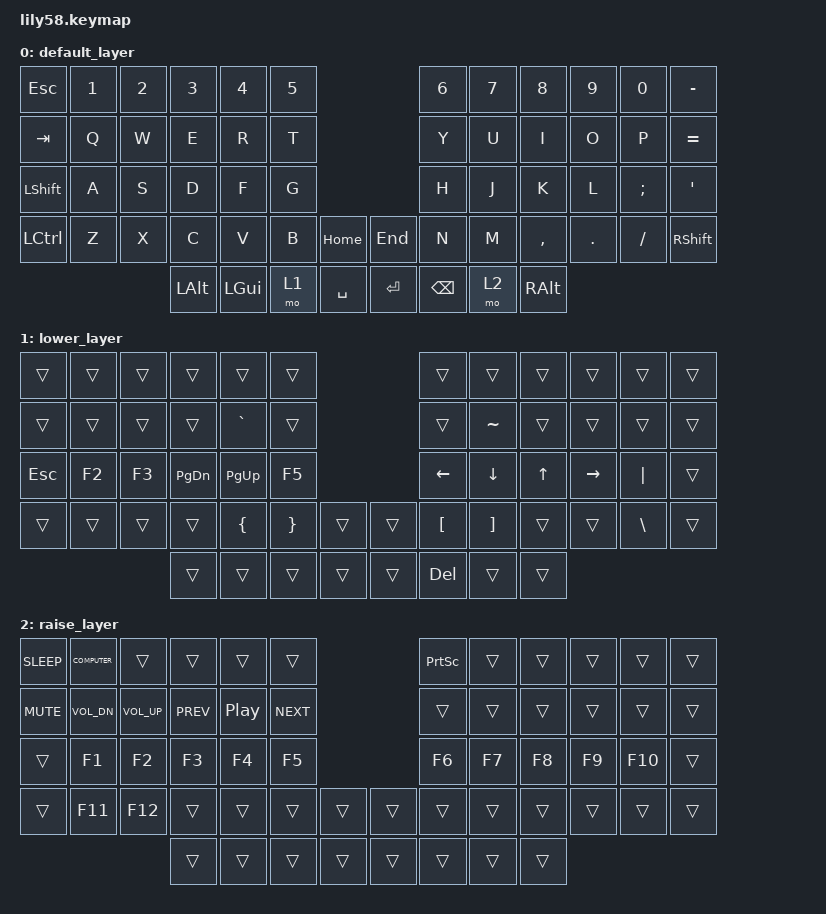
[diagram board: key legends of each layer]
#include <behaviors.dtsi>
#include <dt-bindings/zmk/keys.h>
#include <dt-bindings/zmk/bt.h>

/ {
    keymap {
        compatible = "zmk,keymap";

        /* Layer 0: QWERTY (Base)
         * ,-----------------------------------------.                    ,-----------------------------------------.
         * | ESC  |   1  |   2  |   3  |   4  |   5  |                    |   6  |   7  |   8  |   9  |   0  |  -   |
         * |------+------+------+------+------+------|                    |------+------+------+------+------+------|
         * | Tab  |   Q  |   W  |   E  |   R  |   T  |                    |   Y  |   U  |   I  |   O  |   P  |  =   |
         * |------+------+------+------+------+------|                    |------+------+------+------+------+------|
         * |LShift|   A  |   S  |   D  |   F  |   G  |-------.    ,-------|   H  |   J  |   K  |   L  |   ;  |  '   |
         * |------+------+------+------+------+------|  HOME |    |  END  |------+------+------+------+------+------|
         * |LCTRL |   Z  |   X  |   C  |   V  |   B  |-------|    |-------|   N  |   M  |   ,  |   .  |   /  |RShift|
         * `-----------------------------------------/       /     \      \-----------------------------------------'
         *                   | LAlt | LGUI |LOWER | /Space  /       \Enter \  |BackSP|RAISE | RALT |
         *                   |      |      |      |/       /         \      \ |      |      |      |
         *                   `----------------------------'           '------''--------------------'
         */
        default_layer {
            bindings = <
&kp ESC     &kp N1      &kp N2      &kp N3      &kp N4      &kp N5                          &kp N6      &kp N7      &kp N8      &kp N9      &kp N0      &kp MINUS
&kp TAB     &kp Q       &kp W       &kp E       &kp R       &kp T                           &kp Y       &kp U       &kp I       &kp O       &kp P       &kp EQUAL
&kp LSHFT   &kp A       &kp S       &kp D       &kp F       &kp G                           &kp H       &kp J       &kp K       &kp L       &kp SEMI    &kp SQT
&kp LCTRL   &kp Z       &kp X       &kp C       &kp V       &kp B       &kp HOME    &kp END &kp N       &kp M       &kp COMMA   &kp DOT     &kp FSLH    &kp RSHFT
                                    &kp LALT    &kp LGUI    &mo 1       &kp SPACE   &kp RET &kp BSPC    &mo 2       &kp RALT
            >;
        };

        /* Layer 1: LOWER
         * ,-----------------------------------------.                    ,-----------------------------------------.
         * |      |      |      |      |      |      |                    |      |      |      |      |      |      |
         * |------+------+------+------+------+------|                    |------+------+------+------+------+------|
         * |      |      |      |      |  `   |      |                    |      |  ~   |      |      |      |      |
         * |------+------+------+------+------+------|                    |------+------+------+------+------+------|
         * |  ESC |  F2  |  F3  |PGDOWN| PGUP |  F5  |-------.    ,-------| Left | Down |  Up  |Right |  |   |      |
         * |------+------+------+------+------+------|  HOME |    |  END  |------+------+------+------+------+------|
         * |      |      |      |      |  {   |  }   |-------|    |-------|   [  |   ]  |      |      |  /   |      |
         * `-----------------------------------------/       /     \      \-----------------------------------------'
         *                   | LAlt | LGUI |LOWER | /Space  /       \Enter \  | DEL   |RAISE | RALT |
         *                   |      |      |      |/       /         \      \ |      |      |      |
         *                   `----------------------------'           '------''--------------------'
         */
        lower_layer { // Layer 1
            bindings = <
&trans      &trans      &trans      &trans      &trans      &trans                      &trans      &trans      &trans      &trans      &trans      &trans
&trans      &trans      &trans      &trans      &kp GRAVE   &trans                      &trans      &kp TILDE   &trans      &trans      &trans      &trans
&kp ESC     &kp F2      &kp F3      &kp PG_DN    &kp PG_UP    &kp F5                      &kp LEFT    &kp DOWN    &kp UP      &kp RIGHT   &kp PIPE    &trans
&trans      &trans      &trans      &trans      &kp LBRC    &kp RBRC    &trans  &trans  &kp LBKT    &kp RBKT    &trans      &trans      &kp BSLH    &trans
                                    &trans      &trans      &trans      &trans  &trans  &kp DEL     &trans      &trans
            >;
        };

        /* Layer 2: RAISE
         * ,-----------------------------------------.                    ,-----------------------------------------.
         * | SLEEP|LAUNCH|      |      |      |      |                    |PRT SC|      |      |      |      |      |
         * |------+------+------+------+------+------|                    |------+------+------+------+------+------|
         * | MUTE |VOLDN | VOLUP| PREV |PAUSE | NEXT |                    |      |      |      |      |      |      |
         * |------+------+------+------+------+------|                    |------+------+------+------+------+------|
         * |      |  F1  |  F2  |  F3  |  F4  |  F5  |-------.    ,-------|  F6  |  F7  |  F8  |  F9  |  F10 |      |
         * |------+------+------+------+------+------|  HOME |    |  END  |------+------+------+------+------+------|
         * |      |  F11 |  F12 |      |      | F12  |-------|    |-------|      |      |      |      |      |      |
         * `-----------------------------------------/       /     \      \-----------------------------------------'
         *                   | LAlt | LGUI |LOWER | /Space  /       \Enter \  |BackSP|RAISE | RALT |
         *                   |      |      |      |/       /         \      \ |      |      |      |
         *                   `----------------------------'           '------''--------------------'
         */
        raise_layer { // Layer 2
            bindings = <
&kp SLEEP   &kp C_COMPUTER &trans   &trans      &trans      &trans                      &kp PSCRN   &trans      &trans      &trans      &trans      &trans
&kp C_MUTE  &kp C_VOL_DN   &kp C_VOL_UP &kp C_PREV &kp C_PP &kp C_NEXT                  &trans      &trans      &trans      &trans      &trans      &trans
&trans      &kp F1      &kp F2      &kp F3      &kp F4      &kp F5                      &kp F6      &kp F7      &kp F8      &kp F9      &kp F10     &trans
&trans      &kp F11     &kp F12     &trans      &trans      &trans      &trans  &trans  &trans      &trans      &trans      &trans      &trans      &trans
                                    &trans      &trans      &trans      &trans  &trans  &trans      &trans      &trans
            >;
        };
    };
};
